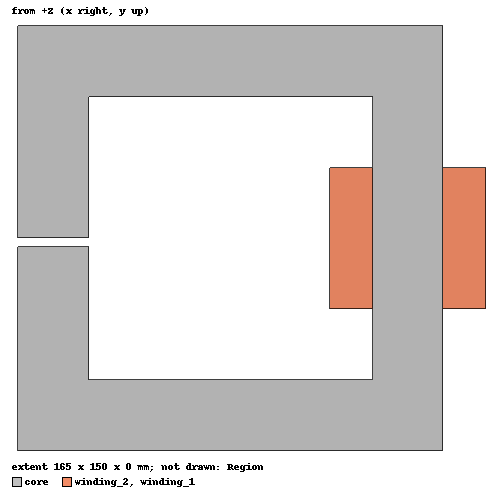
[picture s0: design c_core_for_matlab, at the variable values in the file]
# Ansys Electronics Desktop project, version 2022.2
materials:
  vacuum: permittivity=1
  copper: permeability=0.999991 conductivity=58000000
  Cogent Power - M270-50A, B-H at 50Hz: core_loss_curve{50Hz (0, 0) (0.05, 0.01) (0.1, 0.02) (0.15, 0.045) (0.2, 0.07) (0.25, 0.105) (0.3, 0.14) (0.35, 0.185) (0.4, 0.23) (0.45, 0.28) (0.5, 0.33) (0.55, 0.39) (0.6, 0.45) (0.65, 0.515) (0.7, 0.58) (0.75, 0.655) (0.8, 0.73) (0.85, 0.815) (0.9, 0.9) (0.95, 0.985) (1, 1.07) (1.05, 1.17) (1.1, 1.27) (1.15, 1.385) (1.2, 1.5) (1.25, 1.63) (1.3, 1.76) (1.35, 1.945) (1.4, 2.13) (1.45, 2.325) (1.5, 2.52) (1.55, 2.695) (1.6, 2.87) (1.65, 3) (1.7, 3.13) (1.75, 3.25) (1.8, 3.37)} core_loss_curve{100Hz (0, 0) (0.05, 0.02) (0.1, 0.04) (0.15, 0.105) (0.2, 0.17) (0.25, 0.26) (0.3, 0.35) (0.35, 0.465) (0.4, 0.58) (0.45, 0.715) (0.5, 0.85) (0.55, 1.005) (0.6, 1.16) (0.65, 1.335) (0.7, 1.51) (0.75, 1.705) (0.8, 1.9) (0.85, 2.115) (0.9, 2.33) (0.95, 2.57) (1, 2.81) (1.05, 3.085) (1.1, 3.36) (1.15, 3.67) (1.2, 3.98) (1.25, 4.345) (1.3, 4.71) (1.35, 5.165) (1.4, 5.62) (1.45, 6.155) (1.5, 6.69) (1.55, 7.225) (1.6, 7.76) (1.65, 8.295) (1.7, 8.83) (1.75, 9.365) (1.8, 9.9)} core_loss_curve{200Hz (0, 0) (0.05, 0.05) (0.1, 0.1) (0.15, 0.265) (0.2, 0.43) (0.25, 0.67) (0.3, 0.91) (0.35, 1.21) (0.4, 1.51) (0.45, 1.875) (0.5, 2.24) (0.55, 2.665) (0.6, 3.09) (0.65, 3.58) (0.7, 4.07) (0.75, 4.63) (0.8, 5.19) (0.85, 5.83) (0.9, 6.47) (0.95, 7.205) (1, 7.94) (1.05, 8.775) (1.1, 9.61) (1.15, 10.555) (1.2, 11.5) (1.25, 12.55) (1.3, 13.6) (1.35, 14.95) (1.4, 16.3) (1.45, 17.75) (1.5, 19.2) (1.55, 20.65) (1.6, 22.1) (1.65, 23.55) (1.7, 25) (1.75, 26.45) (1.8, 27.9)} core_loss_curve{400Hz (0, 0) (0.05, 0.145) (0.1, 0.29) (0.15, 0.72) (0.2, 1.15) (0.25, 1.815) (0.3, 2.48) (0.35, 3.325) (0.4, 4.17) (0.45, 5.205) (0.5, 6.24) (0.55, 7.495) (0.6, 8.75) (0.65, 10.225) (0.7, 11.7) (0.75, 13.45) (0.8, 15.2) (0.85, 17.25) (0.9, 19.3) (0.95, 21.7) (1, 24.1) (1.05, 26.9) (1.1, 29.7) (1.15, 32.85) (1.2, 36) (1.25, 39.65) (1.3, 43.3) (1.35, 47.6) (1.4, 51.9) (1.45, 56.9) (1.5, 61.9) (1.55, 66.9) (1.6, 71.9) (1.65, 76.9) (1.7, 81.9) (1.75, 86.9) (1.8, 91.9)} core_loss_curve{1000Hz (0, 0) (0.05, 0.7) (0.1, 1.4) (0.15, 3.205) (0.2, 5.01) (0.25, 7.605) (0.3, 10.2) (0.35, 13.7) (0.4, 17.2) (0.45, 21.65) (0.5, 26.1) (0.55, 31.75) (0.6, 37.4) (0.65, 44.4) (0.7, 51.4) (0.75, 60.05) (0.8, 68.7) (0.85, 79.15) (0.9, 89.6) (0.95, 102.3) (1, 115) (1.05, 130) (1.1, 145) (1.15, 160) (1.2, 175) (1.25, 190) (1.3, 205) (1.35, 220) (1.4, 235) (1.45, 250) (1.5, 265) (1.55, 280) (1.6, 295) (1.65, 310) (1.7, 325) (1.75, 340) (1.8, 355)} permeability{HUnit=A_per_meter BUnit=tesla curve (0, 0) (5, 0.00848205) (10, 0.0186535) (20, 0.0452376) (31.5, 0.1) (42, 0.2) (49.4, 0.3) (56.1, 0.4) (63.1, 0.5) (70.7, 0.6) (79.5, 0.7) (90.1, 0.8) (103, 0.9) (121, 1) (145, 1.1) (185, 1.2) (273, 1.3) (557, 1.4) (1520, 1.5) (3560, 1.6) (6730, 1.7) (11400, 1.8) (20000, 1.89285) (40000, 2.0116) (75000, 2.11928) (130000, 2.21351) (236790, 2.3745) (431300, 2.6336) (785590, 3.0869) (1430900, 3.9022)} conductivity=1818180 core_loss_type="Electrical Steel" core_loss_kh=216.205 core_loss_kc=0.595593 core_loss_ke=2.66671 mass_density=7650

design c_core_for_matlab (Maxwell 2D, Magnetostatic, XY geometry, model units mm)
options: ModelDepth=50mm
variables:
  N = 100
  I = 25A
  g = 3mm
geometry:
  core [Cogent Power - M270-50A, B-H at 50Hz] = rectangle(corner=(0mm, 0mm, 0mm), x_size=150mm, y_size=150mm)
  Rectangle2 = rectangle(corner=(25mm, 25mm, 0mm), x_size=100mm, y_size=100mm)
  core.subtract(Rectangle2)
  core.move(0mm, -75mm, 0mm)
  core.move(-150mm, 0mm, 0mm)
  Rectangle3 = rectangle(corner=(0mm, 0mm, 0mm), x_size=-25mm, y_size=-g)
  core.subtract(Rectangle3)
  core.mirror(point=(0mm, 0mm, 0mm), normal=(1mm, 0mm, 0mm))
  winding_1 [copper] = rectangle(corner=(125mm, 25mm, 0mm), x_size=-15mm, y_size=-50mm)
  winding_2 [copper] = winding_1.duplicate_mirror(point=(140mm, 0mm, 0mm), normal=(1mm, 0mm, 0mm))
  winding_2.move(-5mm, 0mm, 0mm)
  Region [vacuum] = region(percentage_offset: +X=100, -X=100, +Y=100, -Y=100, +Z=0, -Z=0)
  air_gap [vacuum, non-model] = rectangle(corner=(35mm, 0mm, 0mm), x_size=-45mm, y_size=-1mm)
  air_gap_line [non-model] = polyline((-10mm, -0.5mm, 0mm) (35mm, -0.5mm, 0mm))
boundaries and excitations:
  Balloon1: Balloon Edges=Region.edge(all 4)
  Current1: Current Objects=winding_1 Current=N*I IsPositive=true
  Current2: Current Objects=winding_2 Current=N*I IsPositive=false
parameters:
  Matrix1: Matrix Current1, Current2: NumberOfTurns=N; group Group1 = Current1, Current2 (1 parallel)
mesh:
  initial mesh: MeshMethod=AnsoftTAU
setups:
  Setup1: Magnetostatic MaximumPasses=10 MinimumPasses=2 MinimumConvergedPasses=1 PercentRefinement=40 PercentError=1 NonLinearResidual=1e-06
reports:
  Calculator Expressions Plot 1: Mag_B vs Distance on Setup1 : LastAdaptive
